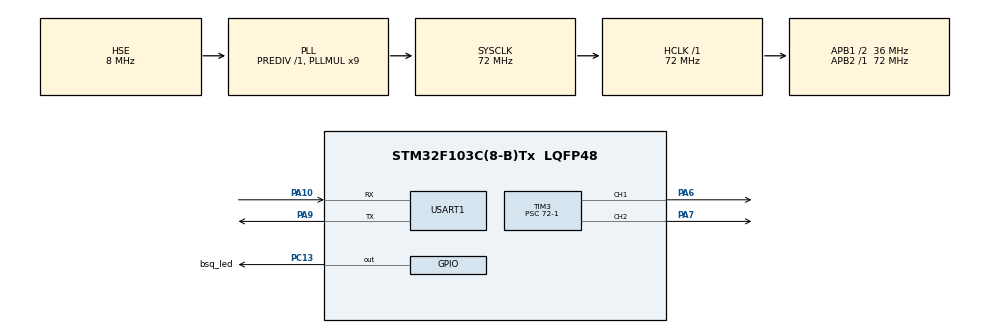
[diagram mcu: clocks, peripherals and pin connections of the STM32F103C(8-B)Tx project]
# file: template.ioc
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Dma.Request0=USART1_RX
Dma.Request1=USART1_TX
Dma.USART1_RX.0.Direction=DMA_PERIPH_TO_MEMORY
Dma.USART1_RX.0.Instance=DMA1_Channel5
Dma.USART1_RX.0.MemDataAlignment=DMA_MDATAALIGN_BYTE
Dma.USART1_RX.0.MemInc=DMA_MINC_ENABLE
Dma.USART1_RX.0.Mode=DMA_NORMAL
Dma.USART1_RX.0.PeriphDataAlignment=DMA_PDATAALIGN_BYTE
Dma.USART1_RX.0.PeriphInc=DMA_PINC_DISABLE
Dma.USART1_RX.0.Priority=DMA_PRIORITY_LOW
Dma.USART1_TX.1.Direction=DMA_MEMORY_TO_PERIPH
Dma.USART1_TX.1.Instance=DMA1_Channel4
Dma.USART1_TX.1.MemDataAlignment=DMA_MDATAALIGN_BYTE
Dma.USART1_TX.1.MemInc=DMA_MINC_ENABLE
Dma.USART1_TX.1.Mode=DMA_NORMAL
Dma.USART1_TX.1.PeriphDataAlignment=DMA_PDATAALIGN_BYTE
Dma.USART1_TX.1.PeriphInc=DMA_PINC_DISABLE
Dma.USART1_TX.1.Priority=DMA_PRIORITY_LOW
Mcu.Family=STM32F1
Mcu.Name=STM32F103C(8-B)Tx
Mcu.Package=LQFP48
NVIC.DMA1_Channel4_IRQn=true\:0\:0\:false\:false\:true\:false\:true\:true
NVIC.DMA1_Channel5_IRQn=true\:0\:0\:false\:false\:true\:false\:true\:true
NVIC.PriorityGroup=NVIC_PRIORITYGROUP_4
NVIC.TIM3_IRQn=true\:1\:0\:true\:false\:true\:true\:true\:true
NVIC.TIM4_IRQn=true\:4\:0\:true\:false\:true\:true\:true\:true
NVIC.USART1_IRQn=true\:3\:0\:true\:false\:true\:true\:true\:true
PA10.Mode=Asynchronous
PA10.Signal=USART1_RX
PA13.Mode=Serial_Wire
PA13.Signal=SYS_JTMS-SWDIO
PA14.Mode=Serial_Wire
PA14.Signal=SYS_JTCK-SWCLK
PA6.Signal=S_TIM3_CH1
PA7.Signal=S_TIM3_CH2
PA9.Mode=Asynchronous
PA9.Signal=USART1_TX
PC13-TAMPER-RTC.GPIO_Label=bsq_led
PC13-TAMPER-RTC.PinState=GPIO_PIN_SET
PC13-TAMPER-RTC.Signal=GPIO_Output
PD0-OSC_IN.Mode=HSE-External-Oscillator
PD0-OSC_IN.Signal=RCC_OSC_IN
PD1-OSC_OUT.Mode=HSE-External-Oscillator
PD1-OSC_OUT.Signal=RCC_OSC_OUT
ProjectManager.HeapSize=0x200
ProjectManager.StackSize=0x400
ProjectManager.TargetToolchain=MDK-ARM V5.32
RCC.AHBFreq_Value=72000000
RCC.APB1CLKDivider=RCC_HCLK_DIV2
RCC.APB1Freq_Value=36000000
RCC.APB1TimFreq_Value=72000000
RCC.APB2Freq_Value=72000000
RCC.APB2TimFreq_Value=72000000
RCC.HCLKFreq_Value=72000000
RCC.PLLMUL=RCC_PLL_MUL9
RCC.PLLSourceVirtual=RCC_PLLSOURCE_HSE
RCC.SYSCLKFreq_VALUE=72000000
RCC.SYSCLKSource=RCC_SYSCLKSOURCE_PLLCLK
RCC.USBFreq_Value=72000000
SH.S_TIM3_CH1.0=TIM3_CH1,Output Compare1 CH1
SH.S_TIM3_CH2.0=TIM3_CH2,Output Compare2 CH2
TIM3.Channel-Output\ Compare1\ CH1=TIM_CHANNEL_1
TIM3.Channel-Output\ Compare2\ CH2=TIM_CHANNEL_2
TIM3.OCMode_1=TIM_OCMODE_TOGGLE
TIM3.OCMode_2=TIM_OCMODE_TOGGLE
TIM3.Prescaler=72-1
TIM4.Period=1000-1
TIM4.Prescaler=71
USART1.VirtualMode=VM_ASYNC
VP_TIM3_VS_ClockSourceINT.Mode=Internal
VP_TIM4_VS_ClockSourceINT.Mode=Internal
board=custom

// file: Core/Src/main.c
/* USER CODE BEGIN Header */
/**
  ******************************************************************************
  * @file           : main.c
  * @brief          : Main program body
  ******************************************************************************

  *
  * MPU6050 scl PB7
            SDA PB6
            INT PB5

    OLED    SCL PB8
            SDA PB9

  *
  ******************************************************************************
  */
/* USER CODE END Header */
#include "main.h"
#include "dma.h"
#include "tim.h"
#include "usart.h"
#include "gpio.h"

/* USER CODE BEGIN Includes */
#include "oled.h"
#include "mpuiic.h"
#include "mpu6050.h"
#include "inv_mpu.h"
#include "inv_mpu_dmp_motion_driver.h"

#include "control.h"
/* USER CODE END Includes */

void SystemClock_Config(void);

/* USER CODE BEGIN 0 */

u8 Flag_Stop=1,Flag_Show=0;                 //停止标志位和 显示标志位 默认停止 显示打开
<<<<<<< HEAD
<<<<<<< HEAD
<<<<<<< HEAD

float Balance_Kp=10000,Balance_Kd=0,Velocity_Kp=0,Velocity_Ki=0;//PID参数
=======
float Balance_Kp=200,Balance_Kd=0,Velocity_Kp=70,Velocity_Ki=0.7;//PID参数
>>>>>>> parent of 3616136 (pid transplant)
=======
float Balance_Kp=200,Balance_Kd=0,Velocity_Kp=70,Velocity_Ki=0.7;//PID参数
>>>>>>> parent of 3616136 (pid transplant)
=======
float Balance_Kp=200,Balance_Kd=0,Velocity_Kp=70,Velocity_Ki=0.7;//PID参数
>>>>>>> parent of 3616136 (pid transplant)

int Moto1,Moto2,Final_Moto1,Final_Moto2;    //电机PWM变量 应是Motor的 向Moto致敬
int Zhongzhi,Flag_Zhongzhi=0;
float Roll,Pitch,Yaw,Angle_Balance,Gyro_Balance;      //平衡倾角
float Acceleration_Z;                       //Z轴加速度计

u8 Flag_Qian,Flag_Hou,Flag_Left,Flag_Right,Flag_sudu=1; //蓝牙遥控相关的变量

u8 state=0;

    uint8_t     uart1RxBuffer[128];
    uint8_t     MPU_dataReady = 0;
/* USER CODE END 0 */

int main(void)
{
  /* USER CODE BEGIN 1 */
//    float pitch, roll, yaw; // Euler angles

  /* USER CODE END 1 */

  /* MCU Configuration--------------------------------------------------------*/

  /* Reset of all peripherals, Initializes the Flash interface and the Systick. */
  HAL_Init();

  /* Configure the system clock */
  SystemClock_Config();

  /* Initialize all configured peripherals */
  MX_GPIO_Init();
  MX_DMA_Init();

  MX_USART1_UART_Init();
  OLED_Init();
  OLED_Clear();
  MX_TIM4_Init();

       OLED_ShowNumber(0, 3, state,2,16);

  /* USER CODE BEGIN 2 */

    printf("Blance_Car\r\n");
//    OLED_ShowString(0,0,"Blance_Car",16);
//    OLED_ShowString(0,2,"pitch",16);
//    OLED_ShowString(0,4,"roll",16);
//    OLED_ShowString(0,6,"yaw",16);

    MPU_Init();
    state=1;
    if(mpu_dmp_init() == 0) //如果返回值为0，表示MPU6050正常工作
    {
       OLED_ShowString(0,6,"MPU6050_Success!",8);

    }
    else //如果返回值不为0，表示MPU6050故障
    {
        //执行异常处理

   OLED_ShowString(0,6,"MPU6050_Fail!",8);

    }
<<<<<<< HEAD
<<<<<<< HEAD
<<<<<<< HEAD

    HAL_Delay(2000);
    MX_TIM3_Init();
    HAL_NVIC_EnableIRQ(EXTI9_5_IRQn); // 启用特定的中断
=======
=======
>>>>>>> parent of 3616136 (pid transplant)
=======
>>>>>>> parent of 3616136 (pid transplant)
//
//    HAL_Delay(3000);
//    MX_TIM3_Init();

<<<<<<< HEAD
<<<<<<< HEAD
>>>>>>> parent of 3616136 (pid transplant)
=======
>>>>>>> parent of 3616136 (pid transplant)
=======
>>>>>>> parent of 3616136 (pid transplant)

  /* USER CODE END 2 */

  /* Infinite loop */
  while (1)
  {

//    run();

  }
}

void SystemClock_Config(void)
{
  RCC_OscInitTypeDef RCC_OscInitStruct = {0};
  RCC_ClkInitTypeDef RCC_ClkInitStruct = {0};

  /** Initializes the RCC Oscillators according to the specified parameters
  * in the RCC_OscInitTypeDef structure.
  */
  RCC_OscInitStruct.OscillatorType = RCC_OSCILLATORTYPE_HSE;
  RCC_OscInitStruct.HSEState = RCC_HSE_ON;
  RCC_OscInitStruct.HSEPredivValue = RCC_HSE_PREDIV_DIV1;
  RCC_OscInitStruct.HSIState = RCC_HSI_ON;
  RCC_OscInitStruct.PLL.PLLState = RCC_PLL_ON;
  RCC_OscInitStruct.PLL.PLLSource = RCC_PLLSOURCE_HSE;
  RCC_OscInitStruct.PLL.PLLMUL = RCC_PLL_MUL9;
  if (HAL_RCC_OscConfig(&RCC_OscInitStruct) != HAL_OK)
  {
    Error_Handler();
  }

  /** Initializes the CPU, AHB and APB buses clocks
  */
  RCC_ClkInitStruct.ClockType = RCC_CLOCKTYPE_HCLK|RCC_CLOCKTYPE_SYSCLK
                              |RCC_CLOCKTYPE_PCLK1|RCC_CLOCKTYPE_PCLK2;
  RCC_ClkInitStruct.SYSCLKSource = RCC_SYSCLKSOURCE_PLLCLK;
  RCC_ClkInitStruct.AHBCLKDivider = RCC_SYSCLK_DIV1;
  RCC_ClkInitStruct.APB1CLKDivider = RCC_HCLK_DIV2;
  RCC_ClkInitStruct.APB2CLKDivider = RCC_HCLK_DIV1;

  if (HAL_RCC_ClockConfig(&RCC_ClkInitStruct, FLASH_LATENCY_2) != HAL_OK)
  {
    Error_Handler();
  }
}

void Error_Handler(void)
{
  __disable_irq();
  while (1)
  {
  }
}
